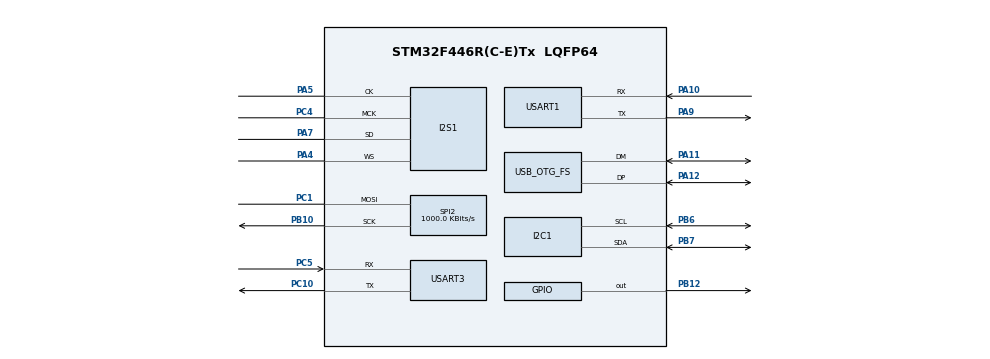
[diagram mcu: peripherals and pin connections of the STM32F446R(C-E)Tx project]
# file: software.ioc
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Dma.Request0=SPI1_TX
Dma.SPI1_TX.0.Direction=DMA_MEMORY_TO_PERIPH
Dma.SPI1_TX.0.FIFOMode=DMA_FIFOMODE_DISABLE
Dma.SPI1_TX.0.Instance=DMA2_Stream3
Dma.SPI1_TX.0.MemDataAlignment=DMA_MDATAALIGN_HALFWORD
Dma.SPI1_TX.0.MemInc=DMA_MINC_ENABLE
Dma.SPI1_TX.0.Mode=DMA_CIRCULAR
Dma.SPI1_TX.0.PeriphDataAlignment=DMA_PDATAALIGN_HALFWORD
Dma.SPI1_TX.0.PeriphInc=DMA_PINC_DISABLE
Dma.SPI1_TX.0.Priority=DMA_PRIORITY_VERY_HIGH
I2C1.NoStretchMode=I2C_NOSTRETCH_DISABLE
I2S1.AudioFreq=I2S_AUDIOFREQ_48K
I2S1.DataFormat=I2S_DATAFORMAT_32B
I2S1.ErrorAudioFreq=1.72 %
I2S1.FullDuplexMode=I2S_FULLDUPLEXMODE_DISABLE
I2S1.Instance=SPI$Index
I2S1.RealAudioFreq=48.828 KHz
I2S1.Standard=I2S_STANDARD_MSB
I2S1.VirtualMode=I2S_MODE_MASTER
Mcu.Family=STM32F4
Mcu.Name=STM32F446R(C-E)Tx
Mcu.Package=LQFP64
NVIC.DMA2_Stream3_IRQn=true\:0\:0\:false\:false\:true\:false\:true\:true
NVIC.PriorityGroup=NVIC_PRIORITYGROUP_4
NVIC.TIM6_DAC_IRQn=true\:0\:0\:false\:false\:true\:true\:true\:true
PA10.Mode=Asynchronous
PA10.Signal=USART1_RX
PA11.Mode=Device_Only
PA11.Signal=USB_OTG_FS_DM
PA12.Mode=Device_Only
PA12.Signal=USB_OTG_FS_DP
PA13.Mode=JTAG_5_pins
PA13.Signal=SYS_JTMS-SWDIO
PA14.Mode=JTAG_5_pins
PA14.Signal=SYS_JTCK-SWCLK
PA15.Mode=JTAG_5_pins
PA15.Signal=SYS_JTDI
PA4.Mode=Half_Duplex_Master
PA4.Signal=I2S1_WS
PA5.Mode=Half_Duplex_Master
PA5.Signal=I2S1_CK
PA7.Mode=Half_Duplex_Master
PA7.Signal=I2S1_SD
PA9.Mode=Asynchronous
PA9.Signal=USART1_TX
PB10.Mode=Simplex_Bidirectional_Master
PB10.Signal=SPI2_SCK
PB12.Signal=GPIO_Output
PB3.Mode=JTAG_5_pins
PB3.Signal=SYS_JTDO-SWO
PB4.Mode=JTAG_5_pins
PB4.Signal=SYS_JTRST
PB6.Mode=I2C
PB6.Signal=I2C1_SCL
PB7.Mode=I2C
PB7.Signal=I2C1_SDA
PC1.Mode=Simplex_Bidirectional_Master
PC1.Signal=SPI2_MOSI
PC10.Mode=Asynchronous
PC10.Signal=USART3_TX
PC4.Mode=Master_Clock_Activated
PC4.Signal=I2S1_MCK
PC5.Mode=Asynchronous
PC5.Signal=USART3_RX
PH0-OSC_IN.Mode=HSE-External-Oscillator
PH0-OSC_IN.Signal=RCC_OSC_IN
PH1-OSC_OUT.Mode=HSE-External-Oscillator
PH1-OSC_OUT.Signal=RCC_OSC_OUT
ProjectManager.HeapSize=0x200
ProjectManager.StackSize=0x400
ProjectManager.TargetToolchain=EWARM V8.50
RCC.CortexFreq_Value=16000000
RCC.HSE_VALUE=8000000
RCC.PLLI2SM=4
RCC.PLLI2SN=50
RCC.PLLM=4
RCC.PLLN=72
RCC.PLLQ=3
RCC.USBFreq_Value=48000000
RCC.VCOOutputFreq_Value=144000000
SPI2.BaudRatePrescaler=SPI_BAUDRATEPRESCALER_16
SPI2.CalculateBaudRate=1000.0 KBits/s
SPI2.DataSize=SPI_DATASIZE_16BIT
SPI2.Direction=SPI_DIRECTION_1LINE
SPI2.Mode=SPI_MODE_MASTER
SPI2.VirtualType=VM_MASTER
TIM6.Period=10000-1
TIM6.Prescaler=16-1
USART1.VirtualMode=VM_ASYNC
USART3.VirtualMode=VM_ASYNC
USB_OTG_FS.VirtualMode=Device_Only
VP_TIM6_VS_ClockSourceINT.Mode=Enable_Timer
board=custom

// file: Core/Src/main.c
/* USER CODE BEGIN Header */
/**
  ******************************************************************************
  * @file           : main.c
  * @brief          : Main program body
  ******************************************************************************
  * @attention
  *
  * Copyright (c) 2023 STMicroelectronics.
  * All rights reserved.
  *
  * This software is licensed under terms that can be found in the LICENSE file
  * in the root directory of this software component.
  * If no LICENSE file comes with this software, it is provided AS-IS.
  *
  ******************************************************************************
  */
/* USER CODE END Header */
#include "main.h"

/* USER CODE BEGIN Includes */
#include <math.h>
#include <stdio.h>
#include <string.h>

//project headers
#include "digitalsynth_main_i2c.h"
//#include "samples.h"
#include "digitalsynth_dsp.h"

/* USER CODE END Includes */

/* USER CODE BEGIN PD */
#define BUFFER_SIZE 256;

#define TICKDELAY       10        //10ms - num/ms/s
#define ONEBITTIMEI2C   1000/48000        //1 bit time for i2c

#define SLIDEPOT_ADDR 0x12<<1
#define PLUGPOT_ADDR 0x13<<1
#define KEYPOT_ADDR 0x14<<1

#define SLIDEPOT_RXSIZE 12
#define PLUGPOT_RXSIZE 13
#define KEY_RXSIZE 2
/* USER CODE END PD */

I2C_HandleTypeDef hi2c1;

I2S_HandleTypeDef hi2s1;
DMA_HandleTypeDef hdma_spi1_tx;

TIM_HandleTypeDef htim6;

UART_HandleTypeDef huart1;
UART_HandleTypeDef huart3;

PCD_HandleTypeDef hpcd_USB_OTG_FS;

/* USER CODE BEGIN PV */

//HAL_StatusTypeDef status;
//hi2c1->Instance->SR1&

//PCM1753 SPI setup
//R16-0x10FF, R18-0x1200, 0x1300, 0x1404, 0x1600
const uint16_t SPI_SETUP_REG[] = {
0x10FF, //R16
0x11FF, //R17
0x1200, //R18
0x1300, //R19
0x1405,         //R20, LEFT - 0X1405, I2S - 0x1404, RIGHT - 0x1400
0x1600  //R22
};

//variables
//I2c
HAL_StatusTypeDef status;
uint8_t u8TimerI2C_counter;
uint16_t slaveADDR;
uint8_t * RxData;
uI2CMainControls ui2cControl;
uint8_t i2cRxSize;

uint32_t u32LastReadTick = 0;
//dsp
int32_t arri32AudioBuffer2[2048];
uint16_t u16WaveformNum = 0;
uint8_t u8Waveform = 0;
uint32_t u32AudioAmp = 0;
uint8_t u8WaveformFlag = 0;
uint8_t u8Range = 4;
uint8_t u8PButton = 0;

/* USER CODE END PV */

void SystemClock_Config(void);
static void MX_GPIO_Init(void);
static void MX_DMA_Init(void);
static void MX_I2C1_Init(void);
static void MX_I2S1_Init(void);
static void MX_SPI2_Init(void);
static void MX_USART1_UART_Init(void);
static void MX_USB_OTG_FS_PCD_Init(void);
static void MX_USART3_UART_Init(void);
static void MX_TIM6_Init(void);
/* USER CODE BEGIN PFP */
void ll_spi_setup();
void ll_send_data();
void HAL_I2S_TxHalfCpltCallback(I2S_HandleTypeDef *hi2s1);
void HAL_I2S_TxCpltCallback(I2S_HandleTypeDef *hi2s1);
void i2c_1bitcycle();
void reset_i2c(I2C_HandleTypeDef *hi2c);
void i2c_rst2();
/* USER CODE END PFP */

int main(void)
{

  /* MCU Configuration--------------------------------------------------------*/

  /* Reset of all peripherals, Initializes the Flash interface and the Systick. */
  HAL_Init();

  /* Configure the system clock */
  SystemClock_Config();

  /* Initialize all configured peripherals */
  MX_GPIO_Init();
  MX_DMA_Init();
  MX_I2C1_Init();
  MX_I2S1_Init();
  MX_SPI2_Init();
  MX_USART1_UART_Init();
  MX_USB_OTG_FS_PCD_Init();
  MX_USART3_UART_Init();
  MX_TIM6_Init();
  /* USER CODE BEGIN 2 */

  //set nss high, no spi comm yet
  HAL_GPIO_WritePin(GPIOB, GPIO_PIN_12, GPIO_PIN_SET);
  //spi setup
  ll_spi_setup();

  //i2s dma tx start
  u8Range = 4;
  //u8Waveform = ui2cControl.sI2CMainControl.u2ButtWaveform1;
  //u8PButton = ui2cControl.sI2CMainControl.u8TestKey1;
  u8Waveform = 1;
  u8PButton = 1;
  u32AudioAmp = 0x7FFFFFFF;
  singen_def(u32AudioAmp);
  sawgen_def(u32AudioAmp);
  trigen_def(u32AudioAmp);
  sqrgen_def(u32AudioAmp);
  dsp2(u8Range, u8PButton, u8Waveform, u32AudioAmp, arri32AudioBuffer2);
  //status = HAL_I2S_Transmit_DMA(&hi2s1, (uint16_t*)arri32AudioBuffer2, 2048);

  //dsp_blitbspline(u8Range, u8PButton, u8Waveform, u32AudioAmp, arri32AudioBuffer2);
  status = HAL_I2S_Transmit_DMA(&hi2s1, (uint16_t*)arri32AudioBuffer2, 2048);

  //I2C timer
  u8TimerI2C_counter = 0;
  //HAL_TIM_Base_Start_IT(&htim6);

  u32LastReadTick = HAL_GetTick();

  /* USER CODE END 2 */

  /* Infinite loop */
  /* USER CODE BEGIN WHILE */
  while (1)
  {
    if ((HAL_GetTick() - u32LastReadTick) > TICKDELAY){
      switch(u8TimerI2C_counter){
      case 0:
        //SlidePot
        RxData = &ui2cControl.au8I2CMainByteAccess[0];
        slaveADDR = SLIDEPOT_ADDR;
        i2cRxSize = SLIDEPOT_RXSIZE;
        break;
      case 1:
        //Plugpot
        RxData = &ui2cControl.au8I2CMainByteAccess[12];
        slaveADDR = PLUGPOT_ADDR;
        i2cRxSize = PLUGPOT_RXSIZE;
        break;
      case 2:
        //Keyboard
        RxData = &ui2cControl.au8I2CMainByteAccess[25];
        slaveADDR = KEYPOT_ADDR;
        i2cRxSize = KEY_RXSIZE;
        break;
      default:
        //SlidePot
        RxData = &ui2cControl.au8I2CMainByteAccess[0];
        slaveADDR = SLIDEPOT_ADDR;
        i2cRxSize = SLIDEPOT_RXSIZE;
        break;
      }
      status = HAL_I2C_Master_Receive(&hi2c1, slaveADDR, RxData, i2cRxSize, 30);
      if(u8TimerI2C_counter >= 2){
        u8TimerI2C_counter = 0;
      }
      else{
        u8TimerI2C_counter++;
      }
    u32LastReadTick = HAL_GetTick();
    }

    /* USER CODE END WHILE */

  }
}

void SystemClock_Config(void)
{
  RCC_OscInitTypeDef RCC_OscInitStruct = {0};
  RCC_ClkInitTypeDef RCC_ClkInitStruct = {0};

  /** Configure the main internal regulator output voltage
  */
  __HAL_RCC_PWR_CLK_ENABLE();
  __HAL_PWR_VOLTAGESCALING_CONFIG(PWR_REGULATOR_VOLTAGE_SCALE3);

  /** Initializes the RCC Oscillators according to the specified parameters
  * in the RCC_OscInitTypeDef structure.
  */
  RCC_OscInitStruct.OscillatorType = RCC_OSCILLATORTYPE_HSI|RCC_OSCILLATORTYPE_HSE;
  RCC_OscInitStruct.HSEState = RCC_HSE_ON;
  RCC_OscInitStruct.HSIState = RCC_HSI_ON;
  RCC_OscInitStruct.HSICalibrationValue = RCC_HSICALIBRATION_DEFAULT;
  RCC_OscInitStruct.PLL.PLLState = RCC_PLL_ON;
  RCC_OscInitStruct.PLL.PLLSource = RCC_PLLSOURCE_HSE;
  RCC_OscInitStruct.PLL.PLLM = 4;
  RCC_OscInitStruct.PLL.PLLN = 72;
  RCC_OscInitStruct.PLL.PLLP = RCC_PLLP_DIV2;
  RCC_OscInitStruct.PLL.PLLQ = 3;
  RCC_OscInitStruct.PLL.PLLR = 2;
  if (HAL_RCC_OscConfig(&RCC_OscInitStruct) != HAL_OK)
  {
    Error_Handler();
  }

  /** Initializes the CPU, AHB and APB buses clocks
  */
  RCC_ClkInitStruct.ClockType = RCC_CLOCKTYPE_HCLK|RCC_CLOCKTYPE_SYSCLK
                              |RCC_CLOCKTYPE_PCLK1|RCC_CLOCKTYPE_PCLK2;
  RCC_ClkInitStruct.SYSCLKSource = RCC_SYSCLKSOURCE_HSI;
  RCC_ClkInitStruct.AHBCLKDivider = RCC_SYSCLK_DIV1;
  RCC_ClkInitStruct.APB1CLKDivider = RCC_HCLK_DIV1;
  RCC_ClkInitStruct.APB2CLKDivider = RCC_HCLK_DIV1;

  if (HAL_RCC_ClockConfig(&RCC_ClkInitStruct, FLASH_LATENCY_0) != HAL_OK)
  {
    Error_Handler();
  }
}

static void MX_I2C1_Init(void)
{

  hi2c1.Instance = I2C1;
  hi2c1.Init.ClockSpeed = 100000;
  hi2c1.Init.DutyCycle = I2C_DUTYCYCLE_2;
  hi2c1.Init.OwnAddress1 = 0;
  hi2c1.Init.AddressingMode = I2C_ADDRESSINGMODE_7BIT;
  hi2c1.Init.DualAddressMode = I2C_DUALADDRESS_DISABLE;
  hi2c1.Init.OwnAddress2 = 0;
  hi2c1.Init.GeneralCallMode = I2C_GENERALCALL_DISABLE;
  hi2c1.Init.NoStretchMode = I2C_NOSTRETCH_DISABLE;
  if (HAL_I2C_Init(&hi2c1) != HAL_OK)
  {
    Error_Handler();
  }

}

static void MX_I2S1_Init(void)
{

  hi2s1.Instance = SPI1;
  hi2s1.Init.Mode = I2S_MODE_MASTER_TX;
  hi2s1.Init.Standard = I2S_STANDARD_MSB;
  hi2s1.Init.DataFormat = I2S_DATAFORMAT_32B;
  hi2s1.Init.MCLKOutput = I2S_MCLKOUTPUT_ENABLE;
  hi2s1.Init.AudioFreq = I2S_AUDIOFREQ_48K;
  hi2s1.Init.CPOL = I2S_CPOL_LOW;
  hi2s1.Init.ClockSource = I2S_CLOCK_PLL;
  hi2s1.Init.FullDuplexMode = I2S_FULLDUPLEXMODE_DISABLE;
  if (HAL_I2S_Init(&hi2s1) != HAL_OK)
  {
    Error_Handler();
  }

}

static void MX_SPI2_Init(void)
{

  LL_SPI_InitTypeDef SPI_InitStruct = {0};

  LL_GPIO_InitTypeDef GPIO_InitStruct = {0};

  /* Peripheral clock enable */
  LL_APB1_GRP1_EnableClock(LL_APB1_GRP1_PERIPH_SPI2);

  LL_AHB1_GRP1_EnableClock(LL_AHB1_GRP1_PERIPH_GPIOC);
  LL_AHB1_GRP1_EnableClock(LL_AHB1_GRP1_PERIPH_GPIOB);
  /**SPI2 GPIO Configuration
  PC1   ------> SPI2_MOSI
  PB10   ------> SPI2_SCK
  */
  GPIO_InitStruct.Pin = LL_GPIO_PIN_1;
  GPIO_InitStruct.Mode = LL_GPIO_MODE_ALTERNATE;
  GPIO_InitStruct.Speed = LL_GPIO_SPEED_FREQ_VERY_HIGH;
  GPIO_InitStruct.OutputType = LL_GPIO_OUTPUT_PUSHPULL;
  GPIO_InitStruct.Pull = LL_GPIO_PULL_NO;
  GPIO_InitStruct.Alternate = LL_GPIO_AF_7;
  LL_GPIO_Init(GPIOC, &GPIO_InitStruct);

  GPIO_InitStruct.Pin = LL_GPIO_PIN_10;
  GPIO_InitStruct.Mode = LL_GPIO_MODE_ALTERNATE;
  GPIO_InitStruct.Speed = LL_GPIO_SPEED_FREQ_VERY_HIGH;
  GPIO_InitStruct.OutputType = LL_GPIO_OUTPUT_PUSHPULL;
  GPIO_InitStruct.Pull = LL_GPIO_PULL_NO;
  GPIO_InitStruct.Alternate = LL_GPIO_AF_5;
  LL_GPIO_Init(GPIOB, &GPIO_InitStruct);

  /* SPI2 parameter configuration*/
  SPI_InitStruct.TransferDirection = LL_SPI_HALF_DUPLEX_TX;
  SPI_InitStruct.Mode = LL_SPI_MODE_MASTER;
  SPI_InitStruct.DataWidth = LL_SPI_DATAWIDTH_16BIT;
  SPI_InitStruct.ClockPolarity = LL_SPI_POLARITY_LOW;
  SPI_InitStruct.ClockPhase = LL_SPI_PHASE_1EDGE;
  SPI_InitStruct.NSS = LL_SPI_NSS_SOFT;
  SPI_InitStruct.BaudRate = LL_SPI_BAUDRATEPRESCALER_DIV16;
  SPI_InitStruct.BitOrder = LL_SPI_MSB_FIRST;
  SPI_InitStruct.CRCCalculation = LL_SPI_CRCCALCULATION_DISABLE;
  SPI_InitStruct.CRCPoly = 10;
  LL_SPI_Init(SPI2, &SPI_InitStruct);
  LL_SPI_SetStandard(SPI2, LL_SPI_PROTOCOL_MOTOROLA);

}

static void MX_TIM6_Init(void)
{

  TIM_MasterConfigTypeDef sMasterConfig = {0};

  htim6.Instance = TIM6;
  htim6.Init.Prescaler = 16-1;
  htim6.Init.CounterMode = TIM_COUNTERMODE_UP;
  htim6.Init.Period = 10000-1;
  htim6.Init.AutoReloadPreload = TIM_AUTORELOAD_PRELOAD_DISABLE;
  if (HAL_TIM_Base_Init(&htim6) != HAL_OK)
  {
    Error_Handler();
  }
  sMasterConfig.MasterOutputTrigger = TIM_TRGO_RESET;
  sMasterConfig.MasterSlaveMode = TIM_MASTERSLAVEMODE_DISABLE;
  if (HAL_TIMEx_MasterConfigSynchronization(&htim6, &sMasterConfig) != HAL_OK)
  {
    Error_Handler();
  }

}

static void MX_USART1_UART_Init(void)
{

  huart1.Instance = USART1;
  huart1.Init.BaudRate = 115200;
  huart1.Init.WordLength = UART_WORDLENGTH_8B;
  huart1.Init.StopBits = UART_STOPBITS_1;
  huart1.Init.Parity = UART_PARITY_NONE;
  huart1.Init.Mode = UART_MODE_TX_RX;
  huart1.Init.HwFlowCtl = UART_HWCONTROL_NONE;
  huart1.Init.OverSampling = UART_OVERSAMPLING_16;
  if (HAL_UART_Init(&huart1) != HAL_OK)
  {
    Error_Handler();
  }

}

static void MX_USART3_UART_Init(void)
{

  huart3.Instance = USART3;
  huart3.Init.BaudRate = 115200;
  huart3.Init.WordLength = UART_WORDLENGTH_8B;
  huart3.Init.StopBits = UART_STOPBITS_1;
  huart3.Init.Parity = UART_PARITY_NONE;
  huart3.Init.Mode = UART_MODE_TX_RX;
  huart3.Init.HwFlowCtl = UART_HWCONTROL_NONE;
  huart3.Init.OverSampling = UART_OVERSAMPLING_16;
  if (HAL_UART_Init(&huart3) != HAL_OK)
  {
    Error_Handler();
  }

}

static void MX_USB_OTG_FS_PCD_Init(void)
{

  hpcd_USB_OTG_FS.Instance = USB_OTG_FS;
  hpcd_USB_OTG_FS.Init.dev_endpoints = 6;
  hpcd_USB_OTG_FS.Init.speed = PCD_SPEED_FULL;
  hpcd_USB_OTG_FS.Init.dma_enable = DISABLE;
  hpcd_USB_OTG_FS.Init.phy_itface = PCD_PHY_EMBEDDED;
  hpcd_USB_OTG_FS.Init.Sof_enable = DISABLE;
  hpcd_USB_OTG_FS.Init.low_power_enable = DISABLE;
  hpcd_USB_OTG_FS.Init.lpm_enable = DISABLE;
  hpcd_USB_OTG_FS.Init.vbus_sensing_enable = DISABLE;
  hpcd_USB_OTG_FS.Init.use_dedicated_ep1 = DISABLE;
  if (HAL_PCD_Init(&hpcd_USB_OTG_FS) != HAL_OK)
  {
    Error_Handler();
  }

}

static void MX_DMA_Init(void)
{

  /* DMA controller clock enable */
  __HAL_RCC_DMA2_CLK_ENABLE();

  /* DMA interrupt init */
  /* DMA2_Stream3_IRQn interrupt configuration */
  HAL_NVIC_SetPriority(DMA2_Stream3_IRQn, 0, 0);
  HAL_NVIC_EnableIRQ(DMA2_Stream3_IRQn);

}

static void MX_GPIO_Init(void)
{
  GPIO_InitTypeDef GPIO_InitStruct = {0};

  /* GPIO Ports Clock Enable */
  __HAL_RCC_GPIOH_CLK_ENABLE();
  __HAL_RCC_GPIOC_CLK_ENABLE();
  __HAL_RCC_GPIOA_CLK_ENABLE();
  __HAL_RCC_GPIOB_CLK_ENABLE();

  /*Configure GPIO pin Output Level */
  HAL_GPIO_WritePin(GPIOB, GPIO_PIN_12, GPIO_PIN_RESET);

  /*Configure GPIO pin : PB12 */
  GPIO_InitStruct.Pin = GPIO_PIN_12;
  GPIO_InitStruct.Mode = GPIO_MODE_OUTPUT_PP;
  GPIO_InitStruct.Pull = GPIO_NOPULL;
  GPIO_InitStruct.Speed = GPIO_SPEED_FREQ_LOW;
  HAL_GPIO_Init(GPIOB, &GPIO_InitStruct);

}

/* USER CODE BEGIN 4 */
void ll_spi_setup(){
  //HAL_Delay(10);
  unsigned int SPI_SETUP_SIZE = sizeof(SPI_SETUP_REG)/sizeof(SPI_SETUP_REG[0]);
  //spi enable
  LL_SPI_Enable(SPI2);
  //send datas
  ll_send_data(SPI_SETUP_REG, SPI_SETUP_SIZE);

  //nss soft??

}

void ll_send_data(uint16_t* data, unsigned int size){
  //*********
  //SOURCES
  //https://hackaday.com/2022/10/24/bare-metal-stm32-setting-up-and-using-spi/
  //https://usermanual.wiki/Document/Reference20manualF446RE.1190689300/view
  //http://www.disca.upv.es/aperles/arm_cortex_m3/llibre/st/STM32F439xx_User_Manual/group__spi__ll__em__write__read.html
  //*********
  //sending "size" number of datas
  for(uint16_t i=0; i<size; i++)
  {
    //set nss low to start communication
    HAL_GPIO_WritePin(GPIOB, GPIO_PIN_12, GPIO_PIN_RESET);

    //wait while transfer register is empty
    while(!(SPI2->SR & LL_SPI_SR_TXE));
    //Write data (8-16 bits) into SPI_DR
    //SPI2->DR = data[i];
    LL_SPI_TransmitData16(SPI2, data[i]);

    //wait while transfer register is empty
    while(!(SPI2->SR & LL_SPI_SR_TXE));
    //Wait for SPI_SR_BSY (status register: bus busy) to become false.
    while((SPI2->SR & LL_SPI_SR_BSY));
    //nss low, end of spi comm
    HAL_Delay(2);
    HAL_GPIO_WritePin(GPIOB, GPIO_PIN_12, GPIO_PIN_SET);
    HAL_Delay(10);
  }
  //Clear overrun flag????
  HAL_Delay(10);

  //other ideas, mainly trash
  //while(LL_SPI_ReadReg(hi2s1.Instance->SR, LL_SPI_SR_TXE));
  //Write data (8-16 bits) into SPI_DR
  //LL_SPI_TransmitData16(hi2s1.Instance, data);

}

void HAL_I2S_TxHalfCpltCallback(I2S_HandleTypeDef *hi2s1){
  dsp2(u8Range, u8PButton, u8Waveform, u32AudioAmp, arri32AudioBuffer2);
  //dsp_blitbspline(u8Range, u8PButton, u8Waveform, u32AudioAmp, arri32AudioBuffer2);
}

void HAL_I2S_TxCpltCallback(I2S_HandleTypeDef *hi2s1){
  dsp2(u8Range, u8PButton, u8Waveform, u32AudioAmp, &arri32AudioBuffer2[1024]);
  //dsp_blitbspline(u8Range, u8PButton, u8Waveform, u32AudioAmp, &arri32AudioBuffer2[1024]);
}

void i2c_1bitcycle(){
  unsigned u32CycleReadTick = 0;
  //SCL=0
  HAL_GPIO_WritePin(GPIOB, GPIO_PIN_6, GPIO_PIN_RESET);
  //wait 1 i2c bit time
  u32CycleReadTick = HAL_GetTick();
  while((HAL_GetTick() - u32CycleReadTick) > 1);
  //SCL=1
  HAL_GPIO_WritePin(GPIOB, GPIO_PIN_6, GPIO_PIN_SET);
  //wait 1 i2c bit time
  u32CycleReadTick = HAL_GetTick();
  while((HAL_GetTick() - u32CycleReadTick) > 1);
}

void reset_i2c(I2C_HandleTypeDef *hi2c){
  GPIO_InitTypeDef GPIO_InitStruct = {0};
  __HAL_RCC_GPIOB_CLK_ENABLE();

  //SCL
  HAL_GPIO_WritePin( GPIOB, GPIO_PIN_6, GPIO_PIN_SET );
  GPIO_InitStruct.Pin = GPIO_PIN_6;
  GPIO_InitStruct.Mode = GPIO_MODE_OUTPUT_OD;
  GPIO_InitStruct.Pull = GPIO_NOPULL;
  //GPIO_InitStruct.Alternate = ;
  HAL_GPIO_Init(GPIOB, &GPIO_InitStruct);

  //SDA
  HAL_GPIO_WritePin( GPIOB, GPIO_PIN_7, GPIO_PIN_SET );
  GPIO_InitStruct.Pin = GPIO_PIN_7;
  GPIO_InitStruct.Mode = GPIO_MODE_OUTPUT_OD;
  GPIO_InitStruct.Pull = GPIO_NOPULL;
  HAL_GPIO_Init(GPIOB, &GPIO_InitStruct);

  i2c_1bitcycle();

  uint32_t u32ClockCycles = 0;
  while(!((HAL_GPIO_ReadPin(GPIOB, GPIO_PIN_7) == GPIO_PIN_SET))){
  //while(READ_BIT(hi2c->Instance->SR2, I2C_SR2_BUSY)){
      i2c_1bitcycle();
      u32ClockCycles++;
      if( u32ClockCycles > 8 )
      {
        //TODO: hibakezelИs
        break;
      }
  }

  // Start: SDA falledg while SCL High
  HAL_GPIO_WritePin(GPIOB, GPIO_PIN_7, GPIO_PIN_RESET);
  HAL_Delay(1);
  //Stop: SDA risedg while SCL High
  HAL_GPIO_WritePin(GPIOB, GPIO_PIN_7, GPIO_PIN_SET);
  HAL_Delay(1);

  SET_BIT(hi2c->Instance->CR1, I2C_CR1_SWRST);
  HAL_Delay( 10 );
  CLEAR_BIT(hi2c->Instance->CR1, I2C_CR1_SWRST);

  MX_GPIO_Init();
  MX_I2C1_Init();
}
//not working, the bitbanging...
void i2c_rst2()
{
  LL_GPIO_InitTypeDef GPIO_InitStruct = {0};
  uint8_t u8Cycles;

  /**I2C1 GPIO Configuration
  PB6   ------> I2C1_SCL
  PB7   ------> I2C1_SDA
  */
  GPIO_InitStruct.Pin = GPIO_PIN_6|GPIO_PIN_7;
  GPIO_InitStruct.Mode = LL_GPIO_MODE_OUTPUT;
  GPIO_InitStruct.Speed = LL_GPIO_SPEED_FREQ_VERY_HIGH;
  GPIO_InitStruct.OutputType = LL_GPIO_OUTPUT_OPENDRAIN;
  GPIO_InitStruct.Pull = LL_GPIO_PULL_NO;
  GPIO_InitStruct.Alternate = LL_GPIO_AF_4;
  LL_GPIO_Init(GPIOB, &GPIO_InitStruct);

  HAL_Delay( 1u );
  if( LL_GPIO_IsInputPinSet( GPIOB, LL_GPIO_PIN_6 ) )  // SCL == 1
  {
    LL_GPIO_ResetOutputPin(GPIOB, LL_GPIO_PIN_6);  // SCL = 0
    HAL_Delay( 1u );
  }
  LL_GPIO_SetOutputPin(GPIOB, LL_GPIO_PIN_7);  // SDA = 1
  HAL_Delay( 1u );

  for( u8Cycles = 0u; u8Cycles < 9u; u8Cycles++ )
  {
    // If the slave released SDA
    if( LL_GPIO_IsInputPinSet( GPIOB, LL_GPIO_PIN_7 ) )  // SDA == 1
    {
      break;
    }
    else  // slave currently pulls the SDA line
    {
      // Generate one SCL cycle
      LL_GPIO_SetOutputPin(GPIOB, LL_GPIO_PIN_6);  // SCL = 1
      HAL_Delay( 1u );
      LL_GPIO_ResetOutputPin(GPIOB, LL_GPIO_PIN_6);  // SCL = 0
      HAL_Delay( 1u );
    }
  }

  // Generate stop condition
  LL_GPIO_ResetOutputPin(GPIOB, LL_GPIO_PIN_7);  // SDA = 0
  HAL_Delay( 1u );
  LL_GPIO_SetOutputPin(GPIOB, LL_GPIO_PIN_6);  // SCL = 1
  HAL_Delay( 1u );
  LL_GPIO_SetOutputPin(GPIOB, LL_GPIO_PIN_7);  // SDA = 1
  HAL_Delay( 1u );

  //MX_GPIO_Init();
  //MX_I2C1_Init();
}
/* USER CODE END 4 */

void Error_Handler(void)
{
  __disable_irq();
  while (1)
  {
  }
}
